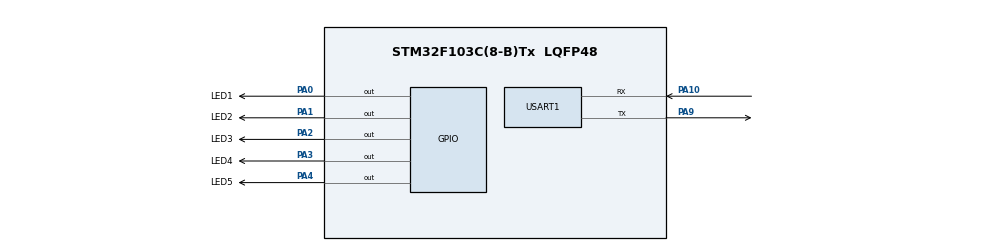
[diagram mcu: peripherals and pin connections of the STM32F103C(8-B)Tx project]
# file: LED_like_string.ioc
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Mcu.Family=STM32F1
Mcu.Name=STM32F103C(8-B)Tx
Mcu.Package=LQFP48
NVIC.PriorityGroup=NVIC_PRIORITYGROUP_4
NVIC.USART1_IRQn=true\:0\:0\:false\:false\:true\:true\:true\:true
PA0-WKUP.GPIO_Label=LED1
PA0-WKUP.Signal=GPIO_Output
PA1.GPIO_Label=LED2
PA1.Signal=GPIO_Output
PA10.Mode=Asynchronous
PA10.Signal=USART1_RX
PA13.Mode=Serial_Wire
PA13.Signal=SYS_JTMS-SWDIO
PA14.Mode=Serial_Wire
PA14.Signal=SYS_JTCK-SWCLK
PA2.GPIO_Label=LED3
PA2.Signal=GPIO_Output
PA3.GPIO_Label=LED4
PA3.Signal=GPIO_Output
PA4.GPIO_Label=LED5
PA4.Signal=GPIO_Output
PA9.Mode=Asynchronous
PA9.Signal=USART1_TX
ProjectManager.HeapSize=0x200
ProjectManager.StackSize=0x400
ProjectManager.TargetToolchain=MDK-ARM V5.32
RCC.APB1Freq_Value=8000000
RCC.APB2Freq_Value=8000000
USART1.VirtualMode=VM_ASYNC
board=custom

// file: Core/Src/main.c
/* USER CODE BEGIN Header */
/**
  ******************************************************************************
  * @file           : main.c
  * @brief          : Main program body
  ******************************************************************************
  * @attention
  *
  * Copyright (c) 2026 STMicroelectronics.
  * All rights reserved.
  *
  * This software is licensed under terms that can be found in the LICENSE file
  * in the root directory of this software component.
  * If no LICENSE file comes with this software, it is provided AS-IS.
  *
  ******************************************************************************
  */
/* USER CODE END Header */
#include "main.h"

UART_HandleTypeDef huart1;

/* USER CODE BEGIN PV */
uint8_t mode = 1;
uint8_t rx_data;
/* USER CODE END PV */

void SystemClock_Config(void);
static void MX_GPIO_Init(void);
static void MX_USART1_UART_Init(void);

int main(void)
{

  /* MCU Configuration--------------------------------------------------------*/

  /* Reset of all peripherals, Initializes the Flash interface and the Systick. */
  HAL_Init();

  /* Configure the system clock */
  SystemClock_Config();

  /* Initialize all configured peripherals */
  MX_GPIO_Init();
  MX_USART1_UART_Init();
  /* USER CODE BEGIN 2 */
HAL_UART_Receive_IT(&huart1, &rx_data, 1);
  /* USER CODE END 2 */

  /* Infinite loop */
  /* USER CODE BEGIN WHILE */
  while (1)
  {

      if (HAL_GPIO_ReadPin(GPIOA, GPIO_PIN_5) == GPIO_PIN_RESET)
      {
          HAL_Delay(20);
          if (HAL_GPIO_ReadPin(GPIOA, GPIO_PIN_5) == GPIO_PIN_RESET)
          {
              mode++;
              if (mode > 4) mode = 1;

              while (HAL_GPIO_ReadPin(GPIOA, GPIO_PIN_5) == GPIO_PIN_RESET);
              HAL_Delay(200);
          }
      }

      if (mode == 1)
      {

          HAL_GPIO_WritePin(GPIOA, GPIO_PIN_0, GPIO_PIN_SET); HAL_Delay(100); HAL_GPIO_WritePin(GPIOA, GPIO_PIN_0, GPIO_PIN_RESET);
          HAL_GPIO_WritePin(GPIOA, GPIO_PIN_1, GPIO_PIN_SET); HAL_Delay(100); HAL_GPIO_WritePin(GPIOA, GPIO_PIN_1, GPIO_PIN_RESET);
          HAL_GPIO_WritePin(GPIOA, GPIO_PIN_2, GPIO_PIN_SET); HAL_Delay(100); HAL_GPIO_WritePin(GPIOA, GPIO_PIN_2, GPIO_PIN_RESET);
          HAL_GPIO_WritePin(GPIOA, GPIO_PIN_3, GPIO_PIN_SET); HAL_Delay(100); HAL_GPIO_WritePin(GPIOA, GPIO_PIN_3, GPIO_PIN_RESET);
          HAL_GPIO_WritePin(GPIOA, GPIO_PIN_4, GPIO_PIN_SET); HAL_Delay(100); HAL_GPIO_WritePin(GPIOA, GPIO_PIN_4, GPIO_PIN_RESET);
      }
      else if (mode == 2)
      {

          HAL_GPIO_WritePin(GPIOA, GPIO_PIN_0 | GPIO_PIN_2 | GPIO_PIN_4, GPIO_PIN_SET);
          HAL_GPIO_WritePin(GPIOA, GPIO_PIN_1 | GPIO_PIN_3, GPIO_PIN_RESET);
          HAL_Delay(150);
          HAL_GPIO_WritePin(GPIOA, GPIO_PIN_0 | GPIO_PIN_2 | GPIO_PIN_4, GPIO_PIN_RESET);
          HAL_GPIO_WritePin(GPIOA, GPIO_PIN_1 | GPIO_PIN_3, GPIO_PIN_SET);
          HAL_Delay(150);
      }
      else if (mode == 3)
      {
          // ??3:????
          HAL_GPIO_WritePin(GPIOA, GPIO_PIN_0 | GPIO_PIN_1 | GPIO_PIN_2 | GPIO_PIN_3 | GPIO_PIN_4, GPIO_PIN_SET);
          HAL_Delay(150);
          HAL_GPIO_WritePin(GPIOA, GPIO_PIN_0 | GPIO_PIN_1 | GPIO_PIN_2 | GPIO_PIN_3 | GPIO_PIN_4, GPIO_PIN_RESET);
          HAL_Delay(150);
      }
      else if (mode == 4)
      {

          HAL_GPIO_WritePin(GPIOA, GPIO_PIN_2, GPIO_PIN_SET); HAL_Delay(100); HAL_GPIO_WritePin(GPIOA, GPIO_PIN_2, GPIO_PIN_RESET);
          HAL_GPIO_WritePin(GPIOA, GPIO_PIN_1 | GPIO_PIN_3, GPIO_PIN_SET); HAL_Delay(100); HAL_GPIO_WritePin(GPIOA, GPIO_PIN_1 | GPIO_PIN_3, GPIO_PIN_RESET);
          HAL_GPIO_WritePin(GPIOA, GPIO_PIN_0 | GPIO_PIN_4, GPIO_PIN_SET); HAL_Delay(100); HAL_GPIO_WritePin(GPIOA, GPIO_PIN_0 | GPIO_PIN_4, GPIO_PIN_RESET);
      }
    /* USER CODE END WHILE */

  }
}

void SystemClock_Config(void)
{
  RCC_OscInitTypeDef RCC_OscInitStruct = {0};
  RCC_ClkInitTypeDef RCC_ClkInitStruct = {0};

  /** Initializes the RCC Oscillators according to the specified parameters
  * in the RCC_OscInitTypeDef structure.
  */
  RCC_OscInitStruct.OscillatorType = RCC_OSCILLATORTYPE_HSI;
  RCC_OscInitStruct.HSIState = RCC_HSI_ON;
  RCC_OscInitStruct.HSICalibrationValue = RCC_HSICALIBRATION_DEFAULT;
  RCC_OscInitStruct.PLL.PLLState = RCC_PLL_NONE;
  if (HAL_RCC_OscConfig(&RCC_OscInitStruct) != HAL_OK)
  {
    Error_Handler();
  }

  /** Initializes the CPU, AHB and APB buses clocks
  */
  RCC_ClkInitStruct.ClockType = RCC_CLOCKTYPE_HCLK|RCC_CLOCKTYPE_SYSCLK
                              |RCC_CLOCKTYPE_PCLK1|RCC_CLOCKTYPE_PCLK2;
  RCC_ClkInitStruct.SYSCLKSource = RCC_SYSCLKSOURCE_HSI;
  RCC_ClkInitStruct.AHBCLKDivider = RCC_SYSCLK_DIV1;
  RCC_ClkInitStruct.APB1CLKDivider = RCC_HCLK_DIV1;
  RCC_ClkInitStruct.APB2CLKDivider = RCC_HCLK_DIV1;

  if (HAL_RCC_ClockConfig(&RCC_ClkInitStruct, FLASH_LATENCY_0) != HAL_OK)
  {
    Error_Handler();
  }
}

static void MX_USART1_UART_Init(void)
{

  huart1.Instance = USART1;
  huart1.Init.BaudRate = 115200;
  huart1.Init.WordLength = UART_WORDLENGTH_8B;
  huart1.Init.StopBits = UART_STOPBITS_1;
  huart1.Init.Parity = UART_PARITY_NONE;
  huart1.Init.Mode = UART_MODE_TX_RX;
  huart1.Init.HwFlowCtl = UART_HWCONTROL_NONE;
  huart1.Init.OverSampling = UART_OVERSAMPLING_16;
  if (HAL_UART_Init(&huart1) != HAL_OK)
  {
    Error_Handler();
  }

}

static void MX_GPIO_Init(void)
{
  GPIO_InitTypeDef GPIO_InitStruct = {0};

  /* GPIO Ports Clock Enable */
  __HAL_RCC_GPIOA_CLK_ENABLE();

  /*Configure GPIO pin Output Level */
  HAL_GPIO_WritePin(GPIOA, LED1_Pin|LED2_Pin|LED3_Pin|LED4_Pin
                          |LED5_Pin, GPIO_PIN_RESET);

  /*Configure GPIO pins : LED1_Pin LED2_Pin LED3_Pin LED4_Pin
                           LED5_Pin */
  GPIO_InitStruct.Pin = LED1_Pin|LED2_Pin|LED3_Pin|LED4_Pin
                          |LED5_Pin;
  GPIO_InitStruct.Mode = GPIO_MODE_OUTPUT_PP;
  GPIO_InitStruct.Pull = GPIO_NOPULL;
  GPIO_InitStruct.Speed = GPIO_SPEED_FREQ_LOW;
  HAL_GPIO_Init(GPIOA, &GPIO_InitStruct);

}

/* USER CODE BEGIN 4 */

void HAL_UART_RxCpltCallback(UART_HandleTypeDef *huart)
{
    if (huart->Instance == USART1)
    {

        if (rx_data >= '1' && rx_data <= '4')
        {
            mode = rx_data - '0';
        }

        HAL_UART_Receive_IT(&huart1, &rx_data, 1);
    }
}
/* USER CODE END 4 */

void Error_Handler(void)
{
  __disable_irq();
  while (1)
  {
  }
}
